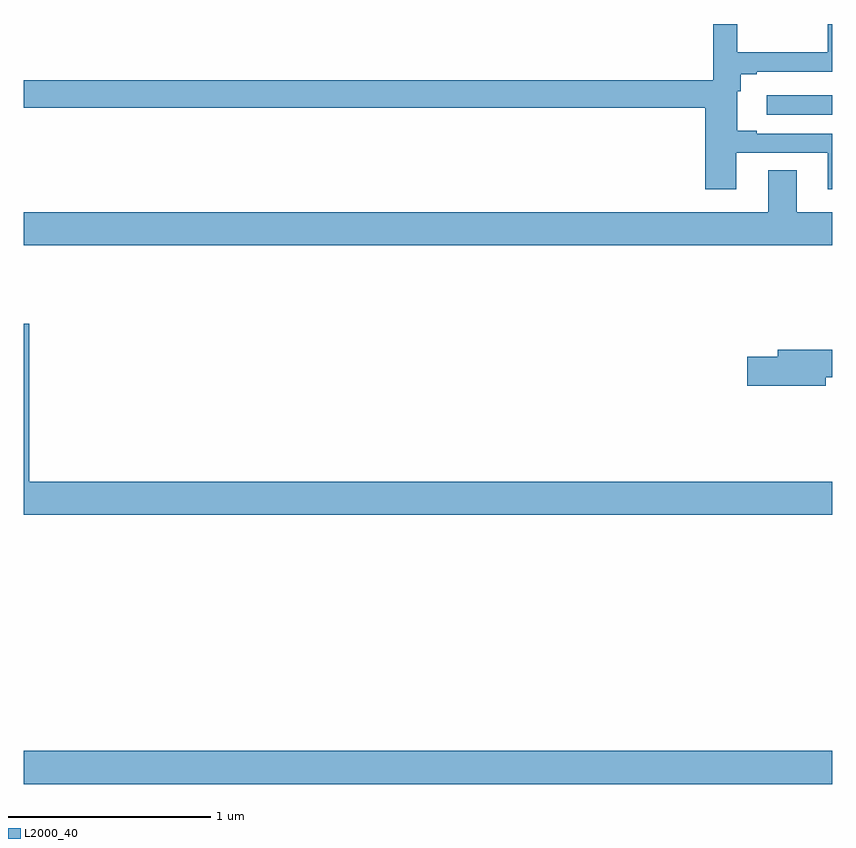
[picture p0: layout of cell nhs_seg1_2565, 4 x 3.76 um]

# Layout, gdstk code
import gdstk
lib = gdstk.Library(unit=1e-6, precision=1e-09)
def R(c, l, rs):  # rectangles x0, y0, x1, y1
    for r in rs: c.add(gdstk.rectangle(r[:2], r[2:], *l))
def P(c, l, *ps):  # polygons
    for p in ps: c.add(gdstk.Polygon(p, *l))
L2000_40 = (2000, 40)

nhs_seg1_2565 = lib.new_cell('nhs_seg1_2565')
R(nhs_seg1_2565, L2000_40, [(251,510.44,255,510.604), (254.676,513.75,255,513.846)])
P(nhs_seg1_2565, L2000_40, [(254.524,513.561),(254.978,513.561),(254.978,513.381),(255,513.381),(255,513.657),(254.626,513.657),(254.626,513.67),(254.53,513.67),(254.53,513.866),(254.548,513.866),(254.548,513.951),(254.626,513.951),(254.626,513.963),(255,513.963),(255,514.199),(254.978,514.199),(254.978,514.06),(254.53,514.06),(254.53,514.199),(254.412,514.199),(254.412,513.92),(251,513.92),(251,513.784),(254.372,513.784),(254.372,513.381),(254.524,513.381)],
  [(255,513.268),(254.824,513.268),(254.824,513.476),(254.684,513.476),(254.684,513.268),(251,513.268),(251,513.104),(255,513.104)],
  [(255,511.936),(251.027,511.936),(251.027,512.716),(251,512.716),(251,511.772),(255,511.772)],
  [(254.968,512.452),(255,512.452),(255,512.588),(254.729,512.588),(254.729,512.552),(254.58,512.552),(254.58,512.41),(254.968,512.41)])

lib.write_gds('nhs_seg1_2565.gds')
